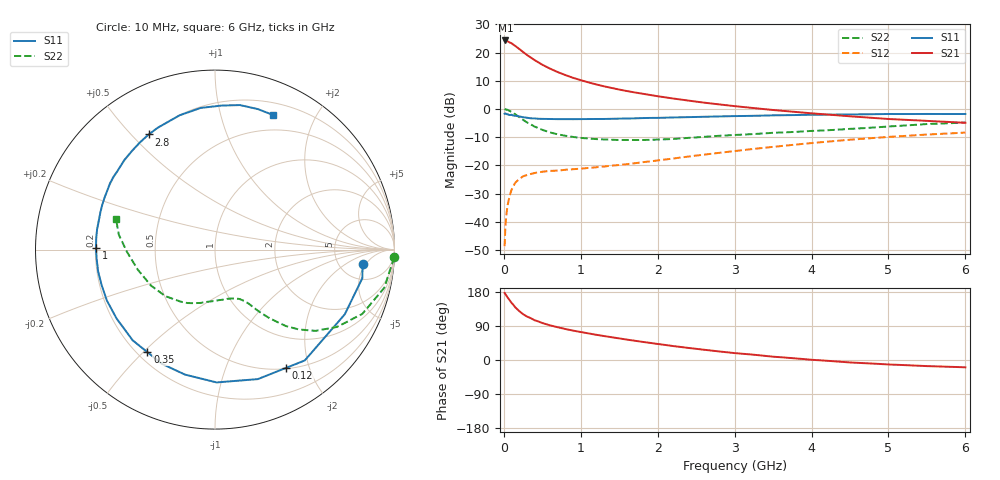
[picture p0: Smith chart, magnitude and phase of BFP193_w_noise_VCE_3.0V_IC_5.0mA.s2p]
! Infineon Technologies  Discrete & RF Semiconductors
! BFP193
! VCE =  3.0 V,  IC =  5.0 mA
! Common Emitter S-Parameters:  Jan 2017
# GHz  S  MA  R  50
!  f  S11  S21  S12  S22
! GHz  MAG  ANG  MAG  ANG  MAG  ANG  MAG  ANG
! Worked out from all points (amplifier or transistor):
!   77 points, 10 MHz to 6 GHz, reference 50 ohm
!   highest |S21| = 24.3 dB at 20 MHz (marker M1)
!   |S21| within 3 dB of that: start of sweep to 199.3 MHz
!   unconditionally stable (mu >= 1): 1.385 GHz to 2.72 GHz
!   at 130 MHz: K = 0.14, MSG = 24.9 dB, |S12| = -27.1 dB
!   at 2.2 GHz: K = 1.06, MAG = 9.1 dB, |S12| = -17.5 dB
!   at 6 GHz: K = 0.89, MSG = 1.7 dB, |S12| = -8.3 dB
!   lowest NFmin = 0.92 dB at 450 MHz
!   S11 on the Smith chart (normalised r, x): 10 MHz: 8.33, -4.22; 120 MHz: 0.51, -1.65; 350 MHz: 0.24, -0.51; 1 GHz: 0.20, +0.01; 2.8 GHz: 0.20, +0.56; 6 GHz: 0.33, +1.47
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0.01  0.826 -5.6  16.31 177.0  0.0037 85.1  1 -2.5
0.02  0.8362 -11.0  16.46 174.0  0.0081 87.7  0.9869 -5.2
0.05  0.808 -26.5  15.89 164.6  0.0199 76.5  0.9677 -12.6
0.1  0.7947 -51.0  14.7 150.8  0.037 65.9  0.8954 -23.6
0.12  0.7687 -59.0  13.99 146.3  0.0419 60.9  0.8566 -26.9
0.15  0.76 -71.7  13.11 138.7  0.0496 55.4  0.8043 -32.4
0.2  0.7401 -89.3  11.63 129.1  0.0573 49.2  0.7196 -39.0
0.25  0.7162 -103.5  10.28 120.9  0.0641 43.1  0.6434 -43.7
0.3  0.7019 -114.9  9.108 114.8  0.0676 39.2  0.5803 -47.2
0.35  0.6844 -123.4  8.207 110.4  0.0705 37.1  0.534 -49.2
0.4  0.6826 -132.2  7.367 104.9  0.0734 35.1  0.4884 -51.5
0.5  0.6694 -145.0  6.106 97.6  0.0773 32.3  0.4278 -54.4
0.6  0.6659 -154.8  5.214 91.5  0.08 31.2  0.3854 -56.4
1  0.6632 179.4  3.25 73.8  0.0877 33.1  0.3078 -63.5
1.1  0.6647 174.6  2.971 70.2  0.0902 34.1  0.3002 -65.6
1.5  0.6758 158.5  2.215 57.0  0.1018 38.3  0.2826 -76.3
2.1  0.7027 138.4  1.611 39.7  0.1276 43.2  0.2907 -95.6
2.8  0.7403 119.9  1.209 22.5  0.1672 44.1  0.3356 -117.5
3.1  0.7527 113.2  1.091 16.5  0.1864 42.9  0.3518 -126.1
4.1  0.7939 94.1  0.82 -0.7  0.2564 35.6  0.4142 -153.9
5.1  0.8164 78.8  0.656 -12.6  0.3265 24.5  0.4995 179.3
6  0.8169 66.7  0.57 -19.3  0.3824 13.5  0.5762 163.0
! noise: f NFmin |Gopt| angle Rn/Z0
0.45  0.92  0.28  104  0.1
0.9  1.03  0.39  150  0.07
1.9  1.97  0.61  -151  0.13
2.4  2.42  0.67  -131  0.35
